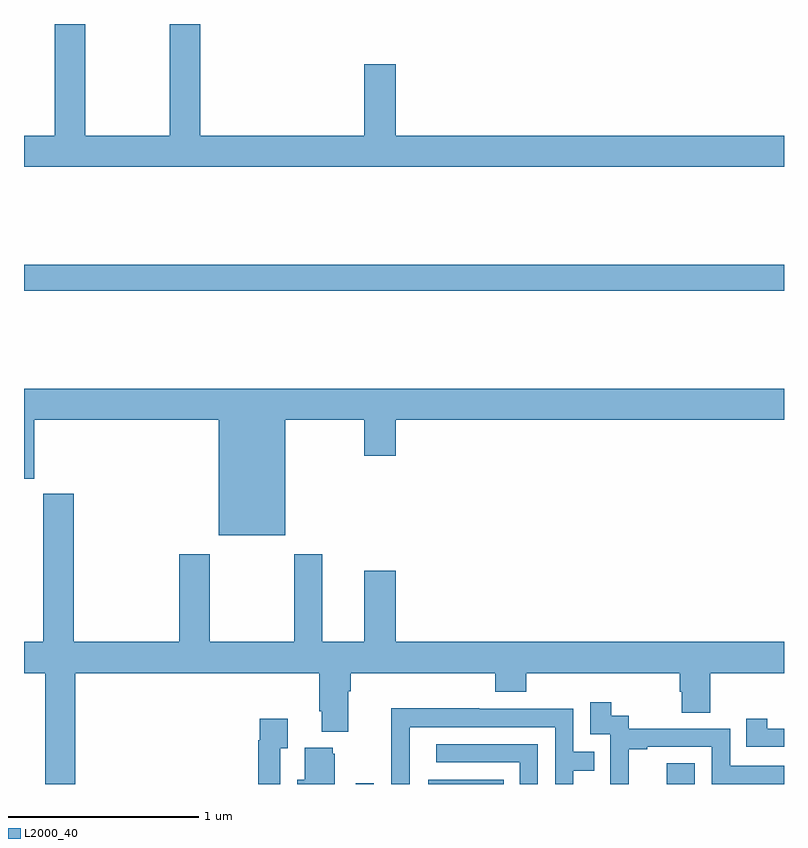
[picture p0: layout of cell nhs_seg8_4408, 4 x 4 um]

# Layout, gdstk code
import gdstk
lib = gdstk.Library(unit=1e-6, precision=1e-09)
def R(c, l, rs):  # rectangles x0, y0, x1, y1
    for r in rs: c.add(gdstk.rectangle(r[:2], r[2:], *l))
def P(c, l, *ps):  # polygons
    for p in ps: c.add(gdstk.Polygon(p, *l))
L2000_40 = (2000, 40)

nhs_seg8_4408 = lib.new_cell('nhs_seg8_4408')
R(nhs_seg8_4408, L2000_40, [(380.745,1131.9,380.841,1131.904), (381.128,1131.9,381.524,1131.922), (382.383,1131.9,382.53,1132.009), (379,1134.496,383,1134.632)])
P(nhs_seg8_4408, L2000_40, [(383,1135.312),(380.956,1135.312),(380.956,1135.687),(380.792,1135.687),(380.792,1135.312),(379.928,1135.312),(379.928,1135.9),(379.768,1135.9),(379.768,1135.312),(379.323,1135.312),(379.323,1135.9),(379.163,1135.9),(379.163,1135.312),(379,1135.312),(379,1135.148),(383,1135.148)],
  [(380.374,1133.816),(380.792,1133.816),(380.792,1133.628),(380.956,1133.628),(380.956,1133.816),(383,1133.816),(383,1133.98),(379,1133.98),(379,1133.507),(379.054,1133.507),(379.054,1133.816),(380.024,1133.816),(380.024,1133.21),(380.374,1133.21)],
  [(379.271,1132.484),(380.555,1132.484),(380.555,1132.282),(380.567,1132.282),(380.567,1132.175),(380.707,1132.175),(380.707,1132.388),(380.72,1132.388),(380.72,1132.484),(381.479,1132.484),(381.479,1132.385),(381.644,1132.385),(381.644,1132.484),(382.451,1132.484),(382.451,1132.386),(382.463,1132.386),(382.463,1132.276),(382.611,1132.276),(382.611,1132.484),(383,1132.484),(383,1132.648),(380.956,1132.648),(380.956,1133.023),(380.792,1133.023),(380.792,1132.648),(380.569,1132.648),(380.569,1133.11),(380.422,1133.11),(380.422,1132.648),(379.977,1132.648),(379.977,1133.11),(379.817,1133.11),(379.817,1132.648),(379.262,1132.648),(379.262,1133.428),(379.102,1133.428),(379.102,1132.648),(379,1132.648),(379,1132.484),(379.111,1132.484),(379.111,1131.9),(379.271,1131.9)],
  [(382.184,1132.083),(382.279,1132.083),(382.279,1132.095),(382.62,1132.095),(382.62,1131.9),(383,1131.9),(383,1131.996),(382.716,1131.996),(382.716,1132.191),(382.182,1132.191),(382.182,1132.26),(382.09,1132.26),(382.09,1132.33),(381.981,1132.33),(381.981,1132.161),(382.086,1132.161),(382.086,1131.932),(382.085,1131.932),(382.085,1131.9),(382.184,1131.9)],
  [(381.03,1131.985),(381.031,1131.985),(381.031,1132.2),(381.795,1132.2),(381.795,1131.9),(381.891,1131.9),(381.891,1131.97),(382.001,1131.97),(382.001,1132.071),(381.891,1132.071),(381.891,1132.296),(381.395,1132.296),(381.395,1132.298),(380.932,1132.298),(380.932,1131.991),(380.934,1131.991),(380.934,1131.9),(381.03,1131.9)],
  [(380.349,1132.087),(380.389,1132.087),(380.389,1132.243),(380.241,1132.243),(380.241,1132.13),(380.233,1132.13),(380.233,1131.9),(380.349,1131.9)],
  [(383,1132.191),(382.912,1132.191),(382.912,1132.243),(382.801,1132.243),(382.801,1132.095),(383,1132.095)],
  [(381.705,1132.11),(381.171,1132.11),(381.171,1132.014),(381.609,1132.014),(381.609,1131.9),(381.705,1131.9)],
  [(380.635,1132.059),(380.624,1132.059),(380.624,1132.09),(380.477,1132.09),(380.477,1131.922),(380.438,1131.922),(380.438,1131.9),(380.635,1131.9)])

lib.write_gds('nhs_seg8_4408.gds')
